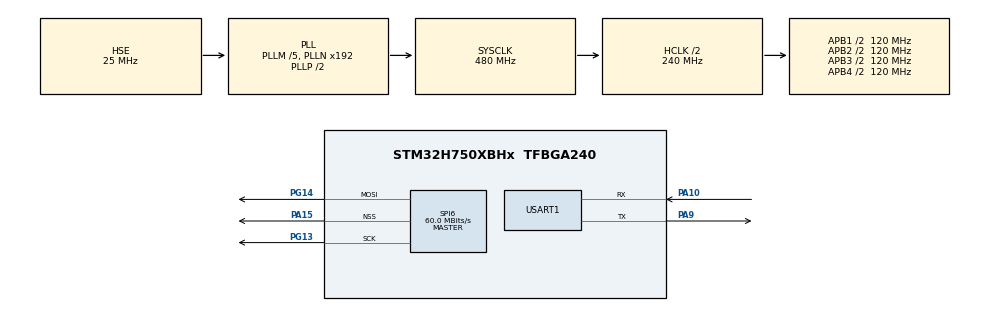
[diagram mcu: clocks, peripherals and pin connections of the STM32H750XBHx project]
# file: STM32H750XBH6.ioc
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Mcu.Family=STM32H7
Mcu.Name=STM32H750XBHx
Mcu.Package=TFBGA240
NVIC.PriorityGroup=NVIC_PRIORITYGROUP_4
PA10.GPIO_Speed=GPIO_SPEED_FREQ_VERY_HIGH
PA10.Mode=Asynchronous
PA10.Signal=USART1_RX
PA15\ (JTDI).GPIO_Speed=GPIO_SPEED_FREQ_VERY_HIGH
PA15\ (JTDI).Mode=NSS_Signal_Hard_Output
PA15\ (JTDI).Signal=SPI6_NSS
PA9.GPIO_Speed=GPIO_SPEED_FREQ_VERY_HIGH
PA9.Mode=Asynchronous
PA9.Signal=USART1_TX
PG13.GPIO_Speed=GPIO_SPEED_FREQ_VERY_HIGH
PG13.Mode=TX_Only_Simplex_Unidirect_Master
PG13.Signal=SPI6_SCK
PG14.GPIO_Speed=GPIO_SPEED_FREQ_VERY_HIGH
PG14.Mode=TX_Only_Simplex_Unidirect_Master
PG14.Signal=SPI6_MOSI
PH0-OSC_IN\ (PH0).Mode=HSE-External-Oscillator
PH0-OSC_IN\ (PH0).Signal=RCC_OSC_IN
PH1-OSC_OUT\ (PH1).Mode=HSE-External-Oscillator
PH1-OSC_OUT\ (PH1).Signal=RCC_OSC_OUT
ProjectManager.HeapSize=0x200
ProjectManager.StackSize=0x400
ProjectManager.TargetToolchain=MDK-ARM V5.32
RCC.ADCFreq_Value=50390625
RCC.APB1Freq_Value=120000000
RCC.APB2Freq_Value=120000000
RCC.APB3Freq_Value=120000000
RCC.APB4Freq_Value=120000000
RCC.CortexFreq_Value=480000000
RCC.D1PPRE=RCC_APB3_DIV2
RCC.D2PPRE1=RCC_APB1_DIV2
RCC.D2PPRE2=RCC_APB2_DIV2
RCC.D3PPRE=RCC_APB4_DIV2
RCC.DIVM1=5
RCC.DIVN1=192
RCC.HCLKFreq_Value=240000000
RCC.HPRE=RCC_HCLK_DIV2
RCC.PLLSourceVirtual=RCC_PLLSOURCE_HSE
RCC.SYSCLKFreq_VALUE=480000000
RCC.SYSCLKSource=RCC_SYSCLKSOURCE_PLLCLK
RCC.USBFreq_Value=480000000
SPI6.CalculateBaudRate=60.0 MBits/s
SPI6.DataSize=SPI_DATASIZE_8BIT
SPI6.Direction=SPI_DIRECTION_2LINES_TXONLY
SPI6.FifoThreshold=SPI_FIFO_THRESHOLD_02DATA
SPI6.Mode=SPI_MODE_MASTER
SPI6.VirtualNSS=VM_NSSHARD
SPI6.VirtualType=VM_MASTER
USART1.VirtualMode-Asynchronous=VM_ASYNC
board=custom

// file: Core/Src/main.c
/* USER CODE BEGIN Header */
/**
  ******************************************************************************
  * @file           : main.c
  * @brief          : Main program body
  ******************************************************************************
  * @attention
  *
  * Copyright (c) 2024 STMicroelectronics.
  * All rights reserved.
  *
  * This software is licensed under terms that can be found in the LICENSE file
  * in the root directory of this software component.
  * If no LICENSE file comes with this software, it is provided AS-IS.
  *
  ******************************************************************************
  */
/* USER CODE END Header */
#include "main.h"

/* USER CODE BEGIN Includes */
#include "led.h"
#include "usart.h"
#include "lcd_spi_169.h"
/* USER CODE END Includes */

SPI_HandleTypeDef hspi6;

UART_HandleTypeDef huart1;

void SystemClock_Config(void);
static void MX_GPIO_Init(void);
static void MX_USART1_UART_Init(void);
static void MX_SPI6_Init(void);

/* USER CODE BEGIN 0 */

/*************************************************************************************************
*	函 数 名:	LCD_Test_Clear
*
*	函数功能:	清屏测试
*************************************************************************************************/
void LCD_Test_Clear(void)
{
	uint8_t	i = 0;			// 计数变量

	LCD_SetDirection(Direction_V);
	LCD_SetTextFont(&CH_Font24);			// 设置2424中文字体,ASCII字体对应为2412
	LCD_SetColor(LCD_BLACK);				// 设置画笔颜色

	for(i=0;i<8;i++)
	{
		switch (i)		// 切换背景色
		{
			case 0: LCD_SetBackColor(LIGHT_RED); 		break;
			case 1: LCD_SetBackColor(LIGHT_GREEN); 	break;
			case 2: LCD_SetBackColor(LIGHT_BLUE); 		break;
			case 3: LCD_SetBackColor(LIGHT_YELLOW); 	break;
			case 4: LCD_SetBackColor(LIGHT_CYAN);		break;
			case 5: LCD_SetBackColor(LIGHT_GREY); 		break;
			case 6: LCD_SetBackColor(LIGHT_MAGENTA); 	break;
			case 7: LCD_SetBackColor(LCD_WHITE); 		break;
			default:	break;
		}
		LCD_Clear();		// 清屏
		LCD_DisplayText(13, 70,"STM32H7 刷屏测试");
		LCD_DisplayText(13,106,"屏幕分辨率:240*280");
		LCD_DisplayText(13,142,"控制器:ST7789");
		HAL_Delay(1000);	// 延时
	}
}

/*************************************************************************************************
*	函 数 名:	LCD_Test_Text
*
*	函数功能:	文本显示测试
*
*	说    明:	显示文本，包括各种字体大小的中文和ASCII字符
*************************************************************************************************/
void LCD_Test_Text(void)
{
	LCD_SetBackColor(LCD_BLACK); 			//	设置背景色
	LCD_Clear(); 								// 清屏

	LCD_SetColor(LCD_WHITE);
	LCD_SetAsciiFont(&ASCII_Font32); LCD_DisplayString(0, 20,"!#$'()*+,-.0123");
	LCD_SetAsciiFont(&ASCII_Font24); LCD_DisplayString(0, 52,"!#$'()*+,-.012345678");
	LCD_SetAsciiFont(&ASCII_Font20); LCD_DisplayString(0, 76,"!#$'()*+,-.0123456789:;<");
	LCD_SetAsciiFont(&ASCII_Font16); LCD_DisplayString(0, 96,"!#$'()*+,-.0123456789:;<=>?@AB");
	LCD_SetAsciiFont(&ASCII_Font12); LCD_DisplayString(0,112,"!#$'()*+,-.0123456789:;<=>?@ABCDEFGHIJKL");

	LCD_SetColor(LCD_CYAN);
	LCD_SetAsciiFont(&ASCII_Font12); LCD_DisplayString(0,124,"!#&'()*+,-.0123456789:;<=>?@ABCDEFGHIJKL");
	LCD_SetAsciiFont(&ASCII_Font16); LCD_DisplayString(0,136,"!#&'()*+,-.0123456789:;<=>?@AB");
	LCD_SetAsciiFont(&ASCII_Font20); LCD_DisplayString(0,152,"!#&'()*+,-.0123456789:;<");
	LCD_SetAsciiFont(&ASCII_Font24); LCD_DisplayString(0,172,"!#&'()*+,-.012345678");
	LCD_SetAsciiFont(&ASCII_Font32); LCD_DisplayString(0,196,"!#&'()*+,-.0123");

	LCD_SetTextFont(&CH_Font24);			// 设置2424中文字体,ASCII字体对应为2412
	LCD_SetColor(LCD_YELLOW);				// 设置画笔，黄色
	LCD_DisplayText(0, 236,"ASCII字符集");

	HAL_Delay(2000);	// 延时等待
	LCD_Clear(); 								// 清屏

	LCD_SetTextFont(&CH_Font12);			// 设置1212中文字体,ASCII字体对应为1206
	LCD_SetColor(0X8AC6D1);					// 设置画笔
	LCD_DisplayText(14, 30,"1212:反客科技");

	LCD_SetTextFont(&CH_Font16);			// 设置1616中文字体,ASCII字体对应为1608
	LCD_SetColor(0XC5E1A5);					// 设置画笔
	LCD_DisplayText(14, 50,"1616:反客科技");

	LCD_SetTextFont(&CH_Font20);			// 设置2020中文字体,ASCII字体对应为2010
	LCD_SetColor(0XFFB549);					// 设置画笔
	LCD_DisplayText(14, 80,"2020:反客科技");

	LCD_SetTextFont(&CH_Font24);			// 设置2424中文字体,ASCII字体对应为2412
	LCD_SetColor(0XFF585D);					// 设置画笔
	LCD_DisplayText(14,110,"2424:反客科技");

	LCD_SetTextFont(&CH_Font32);			// 设置3232中文字体,ASCII字体对应为3216
	LCD_SetColor(0xFFB6B9);					// 设置画笔
	LCD_DisplayText(14,150,"3232:反客科技");

	LCD_SetTextFont(&CH_Font24);			// 设置2424中文字体,ASCII字体对应为2412
	LCD_SetColor(LCD_WHITE);
 	LCD_DisplayText(14,200,"中文显示");

	HAL_Delay(2000);	// 延时等待
}
/************************************************************************************************
*	函 数 名:	LCD_Test_Variable
*
*	函数功能:	变量显示，包括整数和小数
*************************************************************************************************/
void LCD_Test_Variable (void)
{
	uint16_t i;					// 计数变量
	int32_t	a = 0;			// 定义整数变量，用于测试
	int32_t	b = 0;			// 定义整数变量，用于测试
	int32_t	c = 0;			// 定义整数变量，用于测试

	double p = 3.1415926;	// 定义浮点数变量，用于测试
	double f = -1234.1234;	// 定义浮点数变量，用于测试

	LCD_SetBackColor(LCD_BLACK); 			//	设置背景色
	LCD_Clear(); 								// 清屏

   LCD_SetTextFont(&CH_Font24);
	LCD_SetColor(LIGHT_CYAN);					// 设置画笔，蓝绿色
	LCD_DisplayText(0,30,"正数:");
	LCD_DisplayText(0,60,"负数:");

	LCD_SetColor(LIGHT_YELLOW);				// 设置画笔，亮黄色
	LCD_DisplayText(0,100,"填充空格:");
	LCD_DisplayText(0,130,"填充0:");

	LCD_SetColor(LIGHT_RED);					// 设置画笔	，亮红色
	LCD_DisplayText(0,170,"正小数:");
	LCD_DisplayText(0,200,"负小数:");

	for(i=0;i<100;i++)
   {
		LCD_SetColor(LIGHT_CYAN);								// 设置画笔	，蓝绿色
		LCD_ShowNumMode(Fill_Space);							// 多余位填充空格
		LCD_DisplayNumber( 80,30, b+i*10, 4) ;				// 显示变量
		LCD_DisplayNumber( 80,60, c-i*10, 4) ;				// 显示变量

		LCD_SetColor(LIGHT_YELLOW);								// 设置画笔，亮黄色

		LCD_ShowNumMode(Fill_Space);								// 多余位填充 空格
		LCD_DisplayNumber( 130,100, a+i*150, 8) ;				// 显示变量

		LCD_ShowNumMode(Fill_Zero);								// 多余位填充0
		LCD_DisplayNumber( 130,130, b+i*150, 8) ;				// 显示变量

		LCD_SetColor(LIGHT_RED);									// 设置画笔，亮红色
		LCD_ShowNumMode(Fill_Space);								// 多余位填充空格
		LCD_DisplayDecimals( 100,170, p+i*0.1,  6,3);		// 显示小数
		LCD_DisplayDecimals( 100,200, f+i*0.01, 11,4);		// 显示小数

		HAL_Delay(15);
   }
	HAL_Delay(2500);
}
/*************************************************************************************************
*	函 数 名:	LCD_Test_Color
*
*	函数功能:	颜色测
*************************************************************************************************/
void LCD_Test_Color(void)
{
	uint16_t i;					// 计数变量
	uint16_t y;
// 颜色测试>>>>>
	LCD_SetBackColor(LCD_BLACK); //设置背景色
	LCD_Clear(); //清屏，刷背景色

	LCD_SetTextFont(&CH_Font20);			// 设置字体
	LCD_SetColor(LCD_WHITE);				// 设置画笔颜色
	LCD_DisplayText(0,20,"RGB三基色:");

	//使用画线函数绘制三基色色条
	for(i=0;i<240;i++)
	{
		LCD_SetColor( LCD_RED-(i<<16) );
      LCD_DrawLine_V(0+i,  40,10);
	}
	for(i=0;i<240;i++)
	{
		LCD_SetColor( LCD_GREEN-(i<<8) );
      LCD_DrawLine_V(0+i,  55,10);
	}
	for(i=0;i<240;i++)
	{
		LCD_SetColor( LCD_BLUE-i );
      LCD_DrawLine_V(0+i,  70,10);
	}

   y = 90;
   LCD_SetColor(LIGHT_CYAN);    LCD_FillRect(150,y+5     ,90,10);  LCD_DisplayString(0,y     ,"LIGHT_CYAN");
	LCD_SetColor(LIGHT_MAGENTA); LCD_FillRect(150,y+20*1+5,90,10);  LCD_DisplayString(0,y+20*1,"LIGHT_MAGENTA");
	LCD_SetColor(LIGHT_YELLOW);  LCD_FillRect(150,y+20*2+5,90,10);  LCD_DisplayString(0,y+20*2,"LIGHT_YELLOW");
	LCD_SetColor(LIGHT_GREY);    LCD_FillRect(150,y+20*3+5,90,10);  LCD_DisplayString(0,y+20*3,"LIGHT_GREY");

   LCD_SetColor(DARK_CYAN);     LCD_FillRect(150,y+20*4+5,90,10);  LCD_DisplayString(0,y+20*4,"DARK_CYAN");
	LCD_SetColor(DARK_MAGENTA);  LCD_FillRect(150,y+20*5+5,90,10);  LCD_DisplayString(0,y+20*5,"DARK_MAGENTA");
	LCD_SetColor(DARK_YELLOW);   LCD_FillRect(150,y+20*6+5,90,10);  LCD_DisplayString(0,y+20*6,"DARK_YELLOW");
	LCD_SetColor(DARK_GREY);     LCD_FillRect(150,y+20*7+5,90,10);	 LCD_DisplayString(0,y+20*7,"DARK_GREY");

	HAL_Delay(2000);
}

/*************************************************************************************************
*	函 数 名:	LCD_Test_Grahic
*
*	函数功能:	2D图形绘制
*************************************************************************************************/
void LCD_Test_Grahic(void)
{
	LCD_SetBackColor(LCD_BLACK); //设置背景色
	LCD_Clear(); //清屏，刷背景色

	LCD_SetColor(LCD_WHITE);
	LCD_DrawRect(0,0,240,280); 			//绘制矩形

	LCD_SetColor(LCD_RED);    LCD_FillCircle(140,70,30);		//填充圆形
	LCD_SetColor(LCD_GREEN);  LCD_FillCircle(170,70,30);
	LCD_SetColor(LCD_BLUE);   LCD_FillCircle(200,70,30);

	LCD_SetColor(LCD_YELLOW);
	LCD_DrawLine(26,46,113, 84);				//画直线
	LCD_DrawLine(35,42,106,101);				//画直线
	LCD_DrawLine(45,40, 93,120);				//画直线
	LCD_DrawLine(52,36, 69,128);				//画直线
	LCD_DrawLine(62,36, 44,128);				//画直线

	LCD_SetColor(LIGHT_CYAN);
	LCD_DrawCircle(120,190,30);			//绘制圆形
	LCD_DrawCircle(120,190,20);

	LCD_SetColor(LIGHT_RED);
	LCD_DrawEllipse(120,190,90,40); 	//绘制椭圆
	LCD_DrawEllipse(120,190,70,40); 	//绘制椭圆
	LCD_SetColor(LIGHT_MAGENTA);
	LCD_DrawEllipse(120,190,100,50); 	//绘制椭圆
	LCD_DrawEllipse(120,190,110,60);

	HAL_Delay(2000);
}
/*************************************************************************************************
*	函 数 名:	LCD_Test_Image
*
*	函数功能:	图片显示测试
*************************************************************************************************/
void LCD_Test_Image(void)
{
	LCD_SetBackColor(LCD_BLACK); 			//	设置背景色
	LCD_Clear(); 								// 清屏

	LCD_SetColor( 0xffF6E58D);
	LCD_DrawImage( 19, 41, 83, 83, Image_Android_83x83) ;	   // 显示图片

	LCD_SetColor( 0xffDFF9FB);
	LCD_DrawImage( 141, 41, 83, 83, Image_Message_83x83) ;	// 显示图片

	LCD_SetColor( 0xff9DD3A8);
	LCD_DrawImage( 19, 160, 83, 83, Image_Toys_83x83) ;		// 显示图片

	LCD_SetColor( 0xffFF8753);
	LCD_DrawImage( 141, 160, 83, 83, Image_Video_83x83) ;		// 显示图片

	HAL_Delay(2000);
}
/*************************************************************************************************
*	函 数 名:	LCD_Test_Direction
*
*	函数功能:	更换显示方向
*************************************************************************************************/
void  LCD_Test_Direction(void)
{
	for(int i=0;i<4;i++)
	{
      LCD_SetBackColor(LCD_BLACK); 			//	设置背景色
      LCD_Clear(); 								// 清屏
      LCD_SetTextFont(&CH_Font24);
	   LCD_SetColor( 0xffDFF9FB);
		switch (i)		// 切换背景色
		{
			case 0:
            LCD_SetDirection(Direction_V);
            LCD_DisplayText(20,40,"Direction_V");
         break;

			case 1:
            LCD_SetDirection(Direction_H);
            LCD_DisplayText(20,40,"Direction_H");
         break;

			case 2:
            LCD_SetDirection(Direction_V_Flip);
            LCD_DisplayText(20,40,"Direction_V_Flip");
         break;
			case 3:
            LCD_SetDirection(Direction_H_Flip);
            LCD_DisplayText(20,40,"Direction_H_Flip");
         break;

			default:	break;
		}
      LCD_SetColor( 0xffF6E58D);
      LCD_DrawImage( 19,100, 83, 83, Image_Android_83x83) ;	   // 显示图片
      LCD_SetTextFont(&CH_Font32);
      LCD_SetColor( 0xff9DD3A8);
      LCD_DisplayText(130,110,"反客");
      LCD_DisplayText(130,150,"科技");

      HAL_Delay(1000);	// 延时
	}
}

/* USER CODE END 0 */

int main(void)
{
  /* USER CODE BEGIN 1 */

	SCB_EnableICache();		// 使能ICache
	SCB_EnableDCache();		// 使能DCache

  /* USER CODE END 1 */

  /* MCU Configuration--------------------------------------------------------*/

  /* Reset of all peripherals, Initializes the Flash interface and the Systick. */
  HAL_Init();

  /* Configure the system clock */
  SystemClock_Config();

  /* Initialize all configured peripherals */
  MX_GPIO_Init();
  MX_USART1_UART_Init();
  MX_SPI6_Init();
  /* USER CODE BEGIN 2 */
	LED_Init();					// 初始化LED引脚
	SPI_LCD_Init();     	 	// 液晶屏初始化

  /* USER CODE END 2 */

  /* Infinite loop */
  while (1)
  {

    /* USER CODE BEGIN 3 */
		LCD_Test_Clear(); 		// 清屏测试
		LCD_Test_Text();			// 文本测试
		LCD_Test_Variable ();	// 变量显示，包括整数和小数
		LCD_Test_Color();			// 颜色测试
		LCD_Test_Grahic();		// 2D图形绘制
		LCD_Test_Image();			// 图片显示
		LCD_Test_Direction();	// 更换显示方向

		LED1_Toggle;

  }
  /* USER CODE END 3 */
}

void SystemClock_Config(void)
{
  RCC_OscInitTypeDef RCC_OscInitStruct = {0};
  RCC_ClkInitTypeDef RCC_ClkInitStruct = {0};

  /** Supply configuration update enable
  */
  HAL_PWREx_ConfigSupply(PWR_LDO_SUPPLY);

  /** Configure the main internal regulator output voltage
  */
  __HAL_PWR_VOLTAGESCALING_CONFIG(PWR_REGULATOR_VOLTAGE_SCALE1);

  while(!__HAL_PWR_GET_FLAG(PWR_FLAG_VOSRDY)) {}

  __HAL_RCC_SYSCFG_CLK_ENABLE();
  __HAL_PWR_VOLTAGESCALING_CONFIG(PWR_REGULATOR_VOLTAGE_SCALE0);

  while(!__HAL_PWR_GET_FLAG(PWR_FLAG_VOSRDY)) {}

  /** Initializes the RCC Oscillators according to the specified parameters
  * in the RCC_OscInitTypeDef structure.
  */
  RCC_OscInitStruct.OscillatorType = RCC_OSCILLATORTYPE_HSE;
  RCC_OscInitStruct.HSEState = RCC_HSE_ON;
  RCC_OscInitStruct.PLL.PLLState = RCC_PLL_ON;
  RCC_OscInitStruct.PLL.PLLSource = RCC_PLLSOURCE_HSE;
  RCC_OscInitStruct.PLL.PLLM = 5;
  RCC_OscInitStruct.PLL.PLLN = 192;
  RCC_OscInitStruct.PLL.PLLP = 2;
  RCC_OscInitStruct.PLL.PLLQ = 2;
  RCC_OscInitStruct.PLL.PLLR = 2;
  RCC_OscInitStruct.PLL.PLLRGE = RCC_PLL1VCIRANGE_2;
  RCC_OscInitStruct.PLL.PLLVCOSEL = RCC_PLL1VCOWIDE;
  RCC_OscInitStruct.PLL.PLLFRACN = 0;
  if (HAL_RCC_OscConfig(&RCC_OscInitStruct) != HAL_OK)
  {
    Error_Handler();
  }

  /** Initializes the CPU, AHB and APB buses clocks
  */
  RCC_ClkInitStruct.ClockType = RCC_CLOCKTYPE_HCLK|RCC_CLOCKTYPE_SYSCLK
                              |RCC_CLOCKTYPE_PCLK1|RCC_CLOCKTYPE_PCLK2
                              |RCC_CLOCKTYPE_D3PCLK1|RCC_CLOCKTYPE_D1PCLK1;
  RCC_ClkInitStruct.SYSCLKSource = RCC_SYSCLKSOURCE_PLLCLK;
  RCC_ClkInitStruct.SYSCLKDivider = RCC_SYSCLK_DIV1;
  RCC_ClkInitStruct.AHBCLKDivider = RCC_HCLK_DIV2;
  RCC_ClkInitStruct.APB3CLKDivider = RCC_APB3_DIV2;
  RCC_ClkInitStruct.APB1CLKDivider = RCC_APB1_DIV2;
  RCC_ClkInitStruct.APB2CLKDivider = RCC_APB2_DIV2;
  RCC_ClkInitStruct.APB4CLKDivider = RCC_APB4_DIV2;

  if (HAL_RCC_ClockConfig(&RCC_ClkInitStruct, FLASH_LATENCY_4) != HAL_OK)
  {
    Error_Handler();
  }
}

static void MX_SPI6_Init(void)
{

  /* SPI6 parameter configuration*/
  hspi6.Instance = SPI6;
  hspi6.Init.Mode = SPI_MODE_MASTER;
  hspi6.Init.Direction = SPI_DIRECTION_2LINES_TXONLY;
  hspi6.Init.DataSize = SPI_DATASIZE_8BIT;
  hspi6.Init.CLKPolarity = SPI_POLARITY_LOW;
  hspi6.Init.CLKPhase = SPI_PHASE_1EDGE;
  hspi6.Init.NSS = SPI_NSS_HARD_OUTPUT;
  hspi6.Init.BaudRatePrescaler = SPI_BAUDRATEPRESCALER_2;
  hspi6.Init.FirstBit = SPI_FIRSTBIT_MSB;
  hspi6.Init.TIMode = SPI_TIMODE_DISABLE;
  hspi6.Init.CRCCalculation = SPI_CRCCALCULATION_DISABLE;
  hspi6.Init.CRCPolynomial = 0x0;
  hspi6.Init.NSSPMode = SPI_NSS_PULSE_ENABLE;
  hspi6.Init.NSSPolarity = SPI_NSS_POLARITY_LOW;
  hspi6.Init.FifoThreshold = SPI_FIFO_THRESHOLD_02DATA;
  hspi6.Init.TxCRCInitializationPattern = SPI_CRC_INITIALIZATION_ALL_ZERO_PATTERN;
  hspi6.Init.RxCRCInitializationPattern = SPI_CRC_INITIALIZATION_ALL_ZERO_PATTERN;
  hspi6.Init.MasterSSIdleness = SPI_MASTER_SS_IDLENESS_00CYCLE;
  hspi6.Init.MasterInterDataIdleness = SPI_MASTER_INTERDATA_IDLENESS_00CYCLE;
  hspi6.Init.MasterReceiverAutoSusp = SPI_MASTER_RX_AUTOSUSP_DISABLE;
  hspi6.Init.MasterKeepIOState = SPI_MASTER_KEEP_IO_STATE_DISABLE;
  hspi6.Init.IOSwap = SPI_IO_SWAP_DISABLE;
  if (HAL_SPI_Init(&hspi6) != HAL_OK)
  {
    Error_Handler();
  }

}

static void MX_USART1_UART_Init(void)
{

  huart1.Instance = USART1;
  huart1.Init.BaudRate = 115200;
  huart1.Init.WordLength = UART_WORDLENGTH_8B;
  huart1.Init.StopBits = UART_STOPBITS_1;
  huart1.Init.Parity = UART_PARITY_NONE;
  huart1.Init.Mode = UART_MODE_TX_RX;
  huart1.Init.HwFlowCtl = UART_HWCONTROL_NONE;
  huart1.Init.OverSampling = UART_OVERSAMPLING_16;
  huart1.Init.OneBitSampling = UART_ONE_BIT_SAMPLE_DISABLE;
  huart1.Init.ClockPrescaler = UART_PRESCALER_DIV1;
  huart1.AdvancedInit.AdvFeatureInit = UART_ADVFEATURE_NO_INIT;
  if (HAL_UART_Init(&huart1) != HAL_OK)
  {
    Error_Handler();
  }
  if (HAL_UARTEx_SetTxFifoThreshold(&huart1, UART_TXFIFO_THRESHOLD_1_8) != HAL_OK)
  {
    Error_Handler();
  }
  if (HAL_UARTEx_SetRxFifoThreshold(&huart1, UART_RXFIFO_THRESHOLD_1_8) != HAL_OK)
  {
    Error_Handler();
  }
  if (HAL_UARTEx_DisableFifoMode(&huart1) != HAL_OK)
  {
    Error_Handler();
  }

}

static void MX_GPIO_Init(void)
{

  /* GPIO Ports Clock Enable */
  __HAL_RCC_GPIOA_CLK_ENABLE();
  __HAL_RCC_GPIOG_CLK_ENABLE();
  __HAL_RCC_GPIOH_CLK_ENABLE();

}

void Error_Handler(void)
{
  __disable_irq();
  while (1)
  {
  }
}
